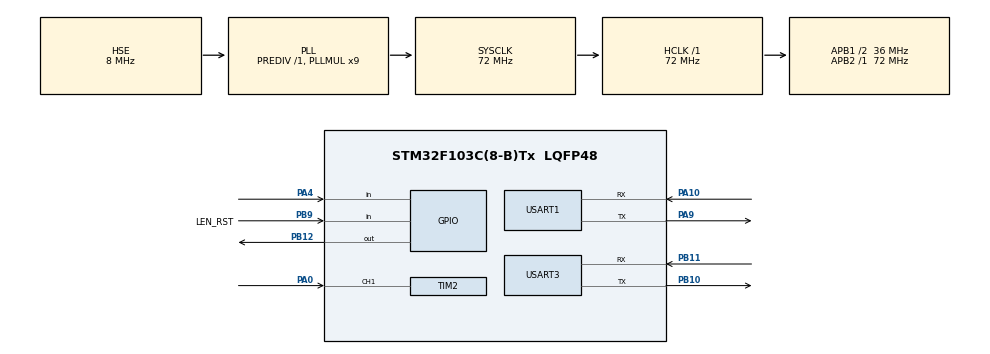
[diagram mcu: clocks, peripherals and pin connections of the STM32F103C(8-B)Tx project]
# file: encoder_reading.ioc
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Dma.Request0=USART3_RX
Dma.Request1=USART3_TX
Dma.USART3_RX.0.Direction=DMA_PERIPH_TO_MEMORY
Dma.USART3_RX.0.Instance=DMA1_Channel3
Dma.USART3_RX.0.MemDataAlignment=DMA_MDATAALIGN_BYTE
Dma.USART3_RX.0.MemInc=DMA_MINC_ENABLE
Dma.USART3_RX.0.Mode=DMA_CIRCULAR
Dma.USART3_RX.0.PeriphDataAlignment=DMA_PDATAALIGN_BYTE
Dma.USART3_RX.0.PeriphInc=DMA_PINC_DISABLE
Dma.USART3_RX.0.Priority=DMA_PRIORITY_LOW
Dma.USART3_TX.1.Direction=DMA_MEMORY_TO_PERIPH
Dma.USART3_TX.1.Instance=DMA1_Channel2
Dma.USART3_TX.1.MemDataAlignment=DMA_MDATAALIGN_BYTE
Dma.USART3_TX.1.MemInc=DMA_MINC_ENABLE
Dma.USART3_TX.1.Mode=DMA_NORMAL
Dma.USART3_TX.1.PeriphDataAlignment=DMA_PDATAALIGN_BYTE
Dma.USART3_TX.1.PeriphInc=DMA_PINC_DISABLE
Dma.USART3_TX.1.Priority=DMA_PRIORITY_LOW
IWDG.Prescaler=IWDG_PRESCALER_64
IWDG.Reload=2499
Mcu.Family=STM32F1
Mcu.Name=STM32F103C(8-B)Tx
Mcu.Package=LQFP48
NVIC.DMA1_Channel2_IRQn=true\:0\:0\:false\:false\:true\:false\:true\:true
NVIC.DMA1_Channel3_IRQn=true\:0\:0\:false\:false\:true\:false\:true\:true
NVIC.PriorityGroup=NVIC_PRIORITYGROUP_4
NVIC.TIM2_IRQn=true\:0\:0\:false\:false\:true\:true\:true\:true
NVIC.USART1_IRQn=true\:0\:0\:false\:false\:true\:true\:true\:true
NVIC.USART3_IRQn=true\:0\:0\:false\:false\:true\:true\:true\:true
PA0-WKUP.Signal=S_TIM2_CH1_ETR
PA10.Mode=Asynchronous
PA10.Signal=USART1_RX
PA13.Mode=Serial_Wire
PA13.Signal=SYS_JTMS-SWDIO
PA14.Mode=Serial_Wire
PA14.Signal=SYS_JTCK-SWCLK
PA4.GPIO_PuPd=GPIO_PULLUP
PA4.Signal=GPIO_Input
PA9.Mode=Asynchronous
PA9.Signal=USART1_TX
PB10.Mode=Asynchronous
PB10.Signal=USART3_TX
PB11.Mode=Asynchronous
PB11.Signal=USART3_RX
PB12.Signal=GPIO_Output
PB9.GPIO_Label=LEN_RST
PB9.GPIO_PuPd=GPIO_PULLUP
PB9.Signal=GPIO_Input
PD0-OSC_IN.Mode=HSE-External-Oscillator
PD0-OSC_IN.Signal=RCC_OSC_IN
PD1-OSC_OUT.Mode=HSE-External-Oscillator
PD1-OSC_OUT.Signal=RCC_OSC_OUT
ProjectManager.HeapSize=0x200
ProjectManager.StackSize=0x400
ProjectManager.TargetToolchain=STM32CubeIDE
RCC.AHBFreq_Value=72000000
RCC.APB1CLKDivider=RCC_HCLK_DIV2
RCC.APB1Freq_Value=36000000
RCC.APB1TimFreq_Value=72000000
RCC.APB2Freq_Value=72000000
RCC.APB2TimFreq_Value=72000000
RCC.HCLKFreq_Value=72000000
RCC.PLLMUL=RCC_PLL_MUL9
RCC.PLLSourceVirtual=RCC_PLLSOURCE_HSE
RCC.SYSCLKFreq_VALUE=72000000
RCC.SYSCLKSource=RCC_SYSCLKSOURCE_PLLCLK
RCC.USBFreq_Value=72000000
SH.S_TIM2_CH1_ETR.0=TIM2_CH1,Input_Capture1_from_TI1
TIM2.Channel-Input_Capture1_from_TI1=TIM_CHANNEL_1
TIM2.ICFilter_CH1=0
TIM2.ICPolarity_CH1=TIM_INPUTCHANNELPOLARITY_RISING
TIM2.Prescaler=72-1
USART1.VirtualMode=VM_ASYNC
USART3.VirtualMode=VM_ASYNC
VP_IWDG_VS_IWDG.Mode=IWDG_Activate
VP_TIM2_VS_ClockSourceINT.Mode=Internal
VP_TIM4_VS_ClockSourceINT.Mode=Internal
board=custom

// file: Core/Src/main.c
/* USER CODE BEGIN Header */
/**
 ******************************************************************************
 * @file           : main.c
 * @brief          : Main program body
 ******************************************************************************
 * @attention
 *
 * Copyright (c) 2025 STMicroelectronics.
 * All rights reserved.
 *
 * This software is licensed under terms that can be found in the LICENSE file
 * in the root directory of this software component.
 * If no LICENSE file comes with this software, it is provided AS-IS.
 *
 ******************************************************************************
 */
/* USER CODE END Header */
#include "main.h"

/* USER CODE BEGIN Includes */
#include <stdio.h>
#include "myEncoder/proximity_counter.h"
#include "queue/queue.h"
#include "modbus/modbus.h"
#include <stdlib.h>
#include <string.h>
#include "myFlash/myFlash.h"
#include "command_handler/command_handler.h"
#include <math.h>
// Declare external callback variable from modbus_master
extern ModbusResponseCallback modbus_user_on_response;

// Runtime measurement mode variable
MeasurementMode_t current_measurement_mode = MEASUREMENT_MODE_LENGTH;
/* USER CODE END Includes */

/* USER CODE BEGIN PTD */
CommandHandler_t cmdh;
/* USER CODE END PTD */

/* USER CODE BEGIN PD */
#define POWER_STATUS_PIN GPIO_PIN_4
#define POWER_STATUS_GPIO_PORT GPIOA
// Chọn chế độ hoạt động
// #define MODBUS_MASTER
#define MODBUS_SLAVE
#define MODBUS_PORT huart3
#define COMMAND_PORT huart1
uint32_t PPR = 1;
float DIA = 0.25f;
uint32_t TIME = 100;
uint32_t TIMEOUT = 10000U; // Default value, will be updated at runtime
int64_t pulse_t = 0;
float current_speed = 0;
////////////////////// Dùng cái này nếu stm32 là MODBUS SLAVE /////////////
#define SLAVE_ID 0x01
uint16_t holding_regs[10];
volatile uint32_t encoder_pulses = 0;
volatile uint32_t distance_mm = 0;
int32_t len_val;
float dia_val;
uint8_t current_modbus_slave_id = 0x01;	   // Will be loaded from Flash
bool modbus_communication_enabled = true;  // Will be loaded from Flash
bool debug_messages_enabled = true;		   // Will be loaded from Flash
uint32_t debug_message_interval_ms = 1000; // Will be loaded from Flash
// MODBUS MASTER timeout management
typedef enum
{
	MASTER_IDLE,
	MASTER_WAITING_RESPONSE
} master_state_t;

// Runtime measurement values - now handled by encoder lib
uint8_t test = 0;
uint8_t uart_byte;
uint32_t parity = 0;
uint32_t c_uart = 0;
/* USER CODE END PD */

IWDG_HandleTypeDef hiwdg;

TIM_HandleTypeDef htim2;
TIM_HandleTypeDef htim4;

UART_HandleTypeDef huart1;
UART_HandleTypeDef huart3;
DMA_HandleTypeDef hdma_usart3_rx;
DMA_HandleTypeDef hdma_usart3_tx;

/* USER CODE BEGIN PV */
// ------------------- Printf --------------------------
#ifdef __GNUC__
#define PUTCHAR_PROTOTYPE int __io_putchar(int ch)
#define GETCHAR_PROTOTYPE int __io_getchar(void)
#else
#define PUTCHAR_PROTOTYPE int fputc(int ch, FILE *f)
#define GETCHAR_PROTOTYPE int fgetc(FILE *f)
#endif

PUTCHAR_PROTOTYPE
{
	HAL_UART_Transmit(&COMMAND_PORT, (uint8_t *)&ch, 1, HAL_MAX_DELAY);
	return ch;
}

GETCHAR_PROTOTYPE
{
	uint8_t ch = 0;

	/* Clear the Overrun flag just before receiving the first character */
	__HAL_UART_CLEAR_OREFLAG(&COMMAND_PORT);

	/* Wait for reception of a character on the USART RX line - NO ECHO */
	HAL_UART_Receive(&COMMAND_PORT, (uint8_t *)&ch, 1, HAL_MAX_DELAY);
	// Removed echo to prevent double character display
	return ch;
}
/* USER CODE END PV */

void SystemClock_Config(void);
static void MX_GPIO_Init(void);
static void MX_DMA_Init(void);
static void MX_TIM2_Init(void);
static void MX_USART1_UART_Init(void);
static void MX_TIM4_Init(void);
static void MX_USART3_UART_Init(void);
static void MX_IWDG_Init(void);
/* USER CODE BEGIN PFP */

// Proximity counter instance
ProximityCounter_t proximity_counter;

// Command interface functions for proximity counter
void SetProximitySpeedUnit(int unit)
{
	if (unit == 0)
	{
		ProximityCounter_SetSpeedUnit(&proximity_counter, PROXIMITY_SPEED_UNIT_RPM);
		printf("✅ Speed unit set to RPM\r\n");
	}
	else if (unit == 1)
	{
		ProximityCounter_SetSpeedUnit(&proximity_counter, PROXIMITY_SPEED_UNIT_M_MIN);
		printf("✅ Speed unit set to m/min\r\n");
	}
}

void SetProximityMeasurementMode(int mode)
{
	if (mode == 0)
	{
		ProximityCounter_SetMeasurementMode(&proximity_counter, PROXIMITY_MEASURE_AVERAGING);
		myFlash_SaveProxMode(0);
		printf("✅ Measurement mode: AVERAGING (%lu samples)\r\n",
			   (unsigned long)proximity_counter.averaging_samples);
	}
	else if (mode == 1)
	{
		ProximityCounter_SetMeasurementMode(&proximity_counter, PROXIMITY_MEASURE_SINGLE_PERIOD);
		myFlash_SaveProxMode(1);
		printf("✅ Measurement mode: SINGLE PERIOD (for slow conveyors)\r\n");
	}
}

void SetProximityHysteresis(int index, int rpm_threshold, int hysteresis)
{
	if (index >= 0 && index < 10)
	{
		ProximityCounter_SetHysteresisEntry(&proximity_counter, index, rpm_threshold, hysteresis);
		printf("✅ Hysteresis[%d] set: RPM=%d, Threshold=%d\r\n", index, rpm_threshold, hysteresis);
	}
}

void ShowProximityHysteresis(void)
{
	printf("=== CURRENT HYSTERESIS TABLE ===\r\n");
	printf("Index | RPM Threshold | Hysteresis\r\n");
	printf("------|---------------|----------\r\n");
	for (int i = 0; i < 10; i++)
	{
		ProximityHysteresisEntry_t entry;
		if (ProximityCounter_GetHysteresisEntry(&proximity_counter, i, &entry))
		{
			printf("  %d   |     %5d     |   %3d\r\n", i, entry.rpm_threshold, entry.hysteresis);
		}
		else
		{
			printf("  %d   |       ---     |   ---\r\n", i);
		}
	}
	printf("💡 Use: hyst set <index> <rpm> <hysteresis>\r\n");
}

void ClearProximityHysteresis(void)
{
	// Clear by resetting the table size and reinitializing
	proximity_counter.hysteresis_table_size = 0;
	printf("✅ Hysteresis table cleared\r\n");
}

void SaveProximityHysteresis(void)
{
	printf("💾 Saving hysteresis table to Flash...\r\n");
	printf("🔍 Current table has %d entries:\r\n", proximity_counter.hysteresis_table_size);

	myHysteresisTable table = {0};
	table.entry_count = proximity_counter.hysteresis_table_size;

	// Copy entries from proximity counter to Flash structure
	for (int i = 0; i < table.entry_count && i < 10; i++)
	{
		table.entries[i].rpm_threshold = proximity_counter.hysteresis_table[i].rpm_threshold;
		table.entries[i].hysteresis = proximity_counter.hysteresis_table[i].hysteresis;
		printf("  Entry %d: RPM=%d, Hyst=%d\r\n", i,
			   table.entries[i].rpm_threshold, table.entries[i].hysteresis);
	}

	if (myFlash_SaveHysteresisTable(&table) == HAL_OK)
	{
		printf("✅ Hysteresis table saved successfully (%d entries)\r\n", table.entry_count);

		// Verify save by reading back
		myHysteresisTable verify_table = {0};
		myFlash_LoadHysteresisTable(&verify_table);
		printf("🔍 Verification: entry_count=%d\r\n", verify_table.entry_count);
	}
	else
	{
		printf("❌ Failed to save hysteresis table to Flash\r\n");
	}
}

void LoadProximityHysteresis(void)
{
	printf("📖 Loading hysteresis table from Flash...\r\n");

	myHysteresisTable table = {0};
	myFlash_LoadHysteresisTable(&table);

	// Debug: Show what was loaded from Flash
	printf("🔍 Flash data: entry_count=%d (0x%02X)\r\n", table.entry_count, table.entry_count);

	// Check if data is valid (not uninitialized Flash)
	// Uninitialized flash will have entry_count = 0xFF (255)
	if (table.entry_count != 0xFF && table.entry_count <= 10 && table.entry_count > 0)
	{
		// Clear current table completely
		proximity_counter.hysteresis_table_size = 0;
		memset(proximity_counter.hysteresis_table, 0, sizeof(proximity_counter.hysteresis_table));

		// Load ALL entries from Flash to proximity counter at correct positions
		for (int i = 0; i < table.entry_count && i < 10; i++)
		{
			// Only skip entries with uninitialized Flash data (0xFFFF)
			if (table.entries[i].rpm_threshold != 0xFFFF && table.entries[i].hysteresis != 0xFFFF &&
				table.entries[i].hysteresis > 0)
			{ // Allow RPM=0, only check hysteresis > 0
				proximity_counter.hysteresis_table[i].rpm_threshold = table.entries[i].rpm_threshold;
				proximity_counter.hysteresis_table[i].hysteresis = table.entries[i].hysteresis;
				// Update table size to include this entry
				if (i >= proximity_counter.hysteresis_table_size)
				{
					proximity_counter.hysteresis_table_size = i + 1;
				}
				printf("  Entry %d: RPM=%d, Hyst=%d\r\n", i,
					   table.entries[i].rpm_threshold, table.entries[i].hysteresis);
			}
		}
		printf("✅ Loaded %d valid hysteresis entries from Flash\r\n", proximity_counter.hysteresis_table_size);
	}
	else
	{
		printf("⚠️  Invalid Flash data (entry_count=%d) - using default hysteresis table\r\n", table.entry_count);
		ProximityCounter_InitDefaultHysteresis(&proximity_counter);
	}
}

// Public function for modbus_port DMA restart
void Restart_MODBUS_DMA(void);

/* USER CODE END PFP */

/* USER CODE BEGIN 0 */
// Hysteresis filter function now in proximity_counter library

void Restart_MODBUS_DMA(void)
{
	HAL_UART_Receive_DMA(&MODBUS_PORT, uart_rx_buffer, UART_RX_BUFFER_SIZE);
	__HAL_UART_ENABLE_IT(&MODBUS_PORT, UART_IT_IDLE);
}

static void Reinit_UARTs(void)
{
	HAL_UART_DeInit(&COMMAND_PORT);
	HAL_UART_Init(&COMMAND_PORT);
	HAL_UART_DeInit(&MODBUS_PORT);
	HAL_UART_Init(&MODBUS_PORT);
	Restart_MODBUS_DMA();
	// command_port now uses scanf - no interrupt setup needed
}

static void Apply_Parity_Config(uint32_t parity_mode)
{
	switch (parity_mode)
	{
	case 0: // NONE
		COMMAND_PORT.Init.Parity = UART_PARITY_NONE;
		COMMAND_PORT.Init.WordLength = UART_WORDLENGTH_8B;
		break;
	case 1: // ODD
		COMMAND_PORT.Init.Parity = UART_PARITY_ODD;
		COMMAND_PORT.Init.WordLength = UART_WORDLENGTH_9B;
		break;
	case 2: // EVEN
		COMMAND_PORT.Init.Parity = UART_PARITY_EVEN;
		COMMAND_PORT.Init.WordLength = UART_WORDLENGTH_9B;
		break;
	default:
		break;
	}
}

static void Apply_Modbus_Parity_Config(uint32_t parity_mode)
{
	switch (parity_mode)
	{
	case 0: // NONE
		MODBUS_PORT.Init.Parity = UART_PARITY_NONE;
		MODBUS_PORT.Init.WordLength = UART_WORDLENGTH_8B;
		break;
	case 1: // ODD
		MODBUS_PORT.Init.Parity = UART_PARITY_ODD;
		MODBUS_PORT.Init.WordLength = UART_WORDLENGTH_9B;
		break;
	case 2: // EVEN
		MODBUS_PORT.Init.Parity = UART_PARITY_EVEN;
		MODBUS_PORT.Init.WordLength = UART_WORDLENGTH_9B;
		break;
	default:
		break;
	}
}

static void Apply_UART_Params(const myUARTParams *p)
{
	if (!p)
		return;
	COMMAND_PORT.Init.BaudRate = p->baudRate;

	Apply_Parity_Config(p->parity);

	if (p->stopBits == 2U)
	{
		COMMAND_PORT.Init.StopBits = UART_STOPBITS_2;
	}
	else
	{
		COMMAND_PORT.Init.StopBits = UART_STOPBITS_1;
	}

	// Reinit only command_port
	HAL_UART_DeInit(&COMMAND_PORT);
	HAL_UART_Init(&COMMAND_PORT);
}

static void Apply_Modbus_UART_Params(const myModbusUARTParams *p)
{
	if (!p)
		return;
	MODBUS_PORT.Init.BaudRate = p->baudRate;

	Apply_Modbus_Parity_Config(p->parity);

	if (p->stopBits == 2U)
	{
		MODBUS_PORT.Init.StopBits = UART_STOPBITS_2;
	}
	else
	{
		MODBUS_PORT.Init.StopBits = UART_STOPBITS_1;
	}

	// Reinit modbus_port and restart DMA
	HAL_UART_DeInit(&MODBUS_PORT);
	HAL_UART_Init(&MODBUS_PORT);
	Restart_MODBUS_DMA();
}

// static void HoldingRegs_Refresh(void)
// {
// 	memset(holding_regs, 0, sizeof(holding_regs));
// 	holding_regs[0] = PPR;															// pulses per revolution
// 	holding_regs[1] = (uint16_t)(DIA * 1000);										// diameter in mm
// 	holding_regs[2] = TIME;															// sample time in ms
// 	holding_regs[3] = (uint16_t)floor(ProximityCounter_GetRPM(&proximity_counter)); // current RPM
// }

// static void Handle_Buttons(void)
// {
// 	static bool emergency_save_done = false;

// 	if (HAL_GPIO_ReadPin(POWER_STATUS_GPIO_PORT, POWER_STATUS_PIN) == GPIO_PIN_SET)
// 	{
// 		// Power loss detected - emergency save all critical parameters
// 		if (!emergency_save_done)
// 		{
// 			// 1. Save current length (highest priority - measurement data)
// 			uint32_t current_length_mm = 0;
// 			myFlash_SaveLength(current_length_mm);

// 			// 2. Save encoder params
// 			myEncoderParams enc_params = {
// 				.diameter = (uint32_t)(DIA * 1000), // Convert to mm
// 				.pulsesPerRev = PPR,
// 				.sampleTimeMs = TIME,
// 			};
// 			myFlash_SaveEncoderParams(&enc_params);

// 			// 3. Save UART params
// 			myUARTParams p;
// 			p.baudRate = MODBUS_PORT.Init.BaudRate;
// 			p.parity = parity;
// 			p.stopBits = (MODBUS_PORT.Init.StopBits == UART_STOPBITS_2) ? 2U : 1U;
// 			p.frameTimeoutMs = TIME;
// 			myFlash_SaveUARTParams(&p);

// 			emergency_save_done = true;
// 		}

// 		// Minimal delay to debounce, then wait for power restoration or complete loss
// 		uint32_t start_time = HAL_GetTick();
// 		while (HAL_GPIO_ReadPin(GPIOA, GPIO_PIN_4) == GPIO_PIN_SET && (HAL_GetTick() - start_time) < 100)
// 		{
// 			// Keep watchdog alive during power loss event
// 			HAL_IWDG_Refresh(&hiwdg);
// 		}

// 		// Reset flag when power is restored
// 		if (HAL_GPIO_ReadPin(GPIOA, GPIO_PIN_4) == GPIO_PIN_RESET)
// 		{
// 			emergency_save_done = false;
// 		}
// 	}
// }

void HAL_UART_IDLE_Callback(UART_HandleTypeDef *huart)
{
	if (huart->Instance == USART3)
	{
		uint16_t len = UART_RX_BUFFER_SIZE - __HAL_DMA_GET_COUNTER(huart->hdmarx);
		// Only accept plausible Modbus RTU frames (min 4 bytes incl. CRC)
		if (len >= 4 && len <= MODBUS_FRAME_MAX_LEN)
		{
			queue_frame_t frame;
			memcpy(frame.data, uart_rx_buffer, len);
			frame.len = len;
			if (!queue_push(&frame))
			{
				printf("⚠️ Queue full- Remove frame!\r\n");
			}
		}

		// Reset DMA
		__HAL_UART_CLEAR_IDLEFLAG(huart);
		HAL_UART_DMAStop(huart);
		HAL_UART_Receive_DMA(huart, uart_rx_buffer, UART_RX_BUFFER_SIZE);
	}
}
// Modbus Functions handler
void on_read_holding_registers(uint16_t addr, uint16_t quantity)
{
	holding_regs[0] = PPR;
	holding_regs[1] = (uint16_t)(DIA * 1000);
	holding_regs[2] = TIME;
	holding_regs[3] = (uint16_t)floor(ProximityCounter_GetRPM(&proximity_counter));
}
void on_write_single_register(uint16_t addr, uint16_t value)
{
	switch (addr)
	{
	case 0:
		holding_regs[0] = value;
		PPR = value;
		ProximityCounter_UpdateConfig(&proximity_counter, PPR, DIA);
		break; // số xung
	case 1:
		holding_regs[1] = value;
		DIA = (float)value / 1000.0;
		ProximityCounter_UpdateConfig(&proximity_counter, PPR, DIA);
		break; // đường kính (mm)
	case 2:
		holding_regs[2] = value;
		TIME = value;
		ProximityCounter_SetTimeout(&proximity_counter, value * 10); // Convert to reasonable timeout
		break;														 // thời gian lấy mẫu (ms)
	default:
		break;
	}
}
void on_write_multiple_registers(uint16_t addr, const uint16_t *values,
								 uint16_t quantity)
{
	printf("Master write multi registers!\n");
}
void modbus_slave_setup(uint8_t slave_id)
{
	ModbusSlaveConfig slave_cfg = {
		.id = slave_id,
		.coils = NULL,
		.coil_count = 0,
		.discrete_inputs = NULL,
		.discrete_input_count = 0,
		.holding_registers = holding_regs,
		.holding_register_count = 10,
		.input_registers = NULL,
		.input_register_count = 0,
		.on_read_coils = NULL,
		.on_read_discrete_inputs = NULL,
		.on_read_holding_registers = on_read_holding_registers,
		.on_read_input_registers = NULL,
		.on_write_single_coil = NULL,
		.on_write_single_register = on_write_single_register,
		.on_write_multiple_coils = NULL,
		.on_write_multiple_registers = on_write_multiple_registers};
	modbus_init_slave(&MODBUS_PORT, &slave_cfg, MODBUS_MODE_RTU);
	memset(holding_regs, 0, sizeof(holding_regs));
	// holding_regs[0] = PPR;		  // số xung
	// holding_regs[1] = (uint16_t)(DIA * 1000); // đường kính (mm)
	// holding_regs[2] = TIME;		  // thời gian lấy mẫu(ms)
	MODBUS_SET_DE_RX(); // DE = LOW (RX mode)
}

void HAL_UART_TxCpltCallback(UART_HandleTypeDef *huart)
{
	if (huart->Instance == USART3)
	{
		// Ngay khi gửi xong, chuyển về chế độ nhận (DE=LOW) bằng macro
		MODBUS_SET_DE_RX();
	}
}
void HAL_TIM_IC_CaptureCallback(TIM_HandleTypeDef *htim)
{
	// Delegate to proximity counter library
	ProximityCounter_HandleCapture(&proximity_counter, htim);
}

// Timer overflow callback - counts overflows between captures
void HAL_TIM_PeriodElapsedCallback(TIM_HandleTypeDef *htim)
{
	// Delegate to proximity counter library
	ProximityCounter_HandleOverflow(&proximity_counter, htim);
}
/* USER CODE END 0 */

int main(void)
{

	/* MCU Configuration--------------------------------------------------------*/

	/* Reset of all peripherals, Initializes the Flash interface and the Systick. */
	HAL_Init();

	/* Configure the system clock */
	SystemClock_Config();

	/* Initialize all configured peripherals */
	MX_GPIO_Init();
	MX_DMA_Init();
	MX_TIM2_Init();
	MX_USART1_UART_Init();
	MX_TIM4_Init();
	MX_USART3_UART_Init();
	MX_IWDG_Init();
	/* USER CODE BEGIN 2 */
	// Load Debug Config from Flash

	// Initialize proximity counter
	ProximityCounterConfig_t prox_config = {
		.ppr = PPR,
		.diameter = DIA,
		.timeout_ms = TIMEOUT,
		.averaging_samples = 3};
	ProximityCounter_Init(&proximity_counter, &prox_config, &htim2);
	ProximityCounter_Start(&proximity_counter);
	CommandHandler_InitDebugConfigFromFlash();
	CommandHandler_GetDebugConfig(&debug_messages_enabled, &debug_message_interval_ms);
	printf("Loaded Debug config from Flash: Status=%s Interval=%lu ms\r\n",
		   debug_messages_enabled ? "ENABLED" : "DISABLED",
		   (unsigned long)debug_message_interval_ms);
	setvbuf(stdin, NULL, _IONBF, 0);

	// Load Modbus configuration from Flash FIRST
	CommandHandler_InitModbusFromFlash();
	current_modbus_slave_id = CommandHandler_GetModbusSlaveId();
	modbus_communication_enabled = CommandHandler_IsModbusEnabled();
	printf("Loaded Modbus config from Flash: ID=0x%02X Status=%s\r\n",
		   current_modbus_slave_id, modbus_communication_enabled ? "ENABLED" : "DISABLED");

	// Load Speed Unit configuration from Flash
	CommandHandler_InitSpeedUnitFromFlash();
	SpeedDisplayUnit_t loaded_speed_unit = CommandHandler_GetSpeedDisplayUnit();
	SetProximitySpeedUnit((loaded_speed_unit == SPEED_UNIT_RPM) ? 0 : 1);
	printf("Loaded speed display unit: %s\r\n",
		   (loaded_speed_unit == SPEED_UNIT_RPM) ? "RPM" : "m/min");

	// Load Hysteresis table from Flash
	LoadProximityHysteresis();

	// Load proximity measurement mode from Flash
	{
		uint32_t saved_prox_mode = myFlash_LoadProxMode();
		if (saved_prox_mode == 0xFFFFFFFFU || saved_prox_mode > 1U)
		{
			// Chưa lưu bao giờ → dùng default SINGLE_PERIOD
			ProximityCounter_SetMeasurementMode(&proximity_counter, PROXIMITY_MEASURE_SINGLE_PERIOD);
			myFlash_SaveProxMode(1);
			printf("⚙️ Initialized prox_mode to SINGLE PERIOD and saved to Flash\r\n");
		}
		else
		{
			ProximityCounter_SetMeasurementMode(&proximity_counter,
				(saved_prox_mode == 0) ? PROXIMITY_MEASURE_AVERAGING : PROXIMITY_MEASURE_SINGLE_PERIOD);
			printf("⬇️ Loaded prox_mode from Flash: %s\r\n",
				(saved_prox_mode == 0) ? "AVERAGING" : "SINGLE PERIOD");
		}
	}

	// Initialize Command Handler
	CommandHandler_Config_t cmd_config = {
		.huart = &COMMAND_PORT,
		.reinit_uarts = Reinit_UARTs,
		.apply_parity_config = Apply_Parity_Config,
		.encoder_init = NULL, // No encoder init needed - using proximity counter
		.save_uart_params = (HAL_StatusTypeDef (*)(const void *))myFlash_SaveUARTParams,
		.save_encoder_params = (HAL_StatusTypeDef (*)(const void *))myFlash_SaveEncoderParams,
		.save_length = myFlash_SaveLength,
		.save_measurement_mode = myFlash_SaveMeasurementMode,
		.load_measurement_mode = myFlash_LoadMeasurementMode,
		.ppr = &PPR,
		.dia = &DIA,
		.time = &TIME,
		.timeout = &TIMEOUT,
		.parity = &parity,
		.measurement_mode = &current_measurement_mode,
		.command_port = &COMMAND_PORT,
		.modbus_port = &MODBUS_PORT,
		.encoder = NULL,
		.htim = &htim2,
		.slave_id = current_modbus_slave_id};
	// Load command_port (Command Handler) params from Flash
	myUARTParams saved_command_port;
	myFlash_LoadUARTParams(&saved_command_port);
	if (saved_command_port.baudRate != 0xFFFFFFFFU && saved_command_port.baudRate >= 2400U && saved_command_port.baudRate <= 921600U)
	{
		Apply_UART_Params(&saved_command_port);
		printf(
			"⬇️ Loaded Command UART params from Flash: baud=%lu parity=%lu stop=%lu\r\n",
			(unsigned long)saved_command_port.baudRate, (unsigned long)saved_command_port.parity,
			(unsigned long)saved_command_port.stopBits);
	}
	else
	{
		myUARTParams def_command_port = {115200U, 0U, 1U, 100U}; // Default for command_port
		if (myFlash_SaveUARTParams(&def_command_port) == HAL_OK)
		{
			printf("⚙️ Initialized default Command UART params and saved to Flash\r\n");
		}
	}

	// Load modbus_port (Modbus) params from Flash
	myModbusUARTParams saved_modbus_uart = {115200U, 0U, 1U, 100U};
	myFlash_LoadModbusUARTParams(&saved_modbus_uart);

	Apply_Modbus_UART_Params(&saved_modbus_uart);
	printf(
		"⬇️ Loaded Modbus UART params from Flash: baud=%lu parity=%lu stop=%lu timeout=%lu ms\r\n",
		(unsigned long)saved_modbus_uart.baudRate, (unsigned long)saved_modbus_uart.parity,
		(unsigned long)saved_modbus_uart.stopBits,
		(unsigned long)saved_modbus_uart.frameTimeoutMs);

	// Load encoder params from Flash and apply
	myEncoderParams saved_encoder;
	myFlash_LoadEncoderParams(&saved_encoder);
	if (saved_encoder.diameter != 0xFFFFFFFFU && saved_encoder.pulsesPerRev != 0xFFFFFFFFU && saved_encoder.diameter > 0 && saved_encoder.pulsesPerRev > 0)
	{
		DIA = (float)saved_encoder.diameter / 1000.0f; // Convert from mm to meters
		PPR = saved_encoder.pulsesPerRev;
		if (saved_encoder.timeout != 0xFFFFFFFFU && saved_encoder.timeout >= 1000U && saved_encoder.timeout <= 60000U)
		{
			TIMEOUT = saved_encoder.timeout;
		}
		if (saved_encoder.sampleTimeMs != 0xFFFFFFFFU && saved_encoder.sampleTimeMs >= 10U && saved_encoder.sampleTimeMs <= 10000U)
		{
			TIME = saved_encoder.sampleTimeMs;
		}
		printf("⬇️ Loaded encoder params from Flash: PPR=%lu DIA=%.3f SAMPLETIME=%lums TIMEOUT=%lums\r\n",
			   (unsigned long)PPR, (double)DIA, (unsigned long)TIME, (unsigned long)TIMEOUT);
	}
	else
	{
		// Initialize with current values if not in flash
		myEncoderParams def_enc = {
			.diameter = (uint32_t)(DIA * 1000),
			.pulsesPerRev = PPR,
			.timeout = TIMEOUT,
			.sampleTimeMs = TIME,
		};
		if (myFlash_SaveEncoderParams(&def_enc) == HAL_OK)
		{
			printf("⚙️ Initialized default encoder params and saved to Flash\r\n");
		}
	}

	// Apply loaded encoder params to proximity counter
	ProximityCounter_UpdateConfig(&proximity_counter, PPR, DIA);
	ProximityCounter_SetTimeout(&proximity_counter, TIMEOUT);

	// Initialize length value if not in flash
	uint32_t saved_length = myFlash_LoadLength();
	if (saved_length == 0xFFFFFFFFU)
	{
		// Initialize length to 0 if not set
		if (myFlash_SaveLength(0) == HAL_OK)
		{
			printf("⚙️ Initialized encoder length to 0 and saved to Flash\r\n");
		}
	}
	else
	{
		printf("⬇️ Loaded encoder length from Flash: %lu\r\n",
			   (unsigned long)saved_length);
	}

	// Load measurement mode from Flash
	uint32_t saved_mode = myFlash_LoadMeasurementMode();
	if (saved_mode == 0xFFFFFFFFU || saved_mode > MEASUREMENT_MODE_LENGTH)
	{
		// Initialize to LENGTH mode if not set or invalid
		current_measurement_mode = MEASUREMENT_MODE_LENGTH;
		if (myFlash_SaveMeasurementMode(MEASUREMENT_MODE_LENGTH) == HAL_OK)
		{
			printf("⚙️ Initialized measurement mode to LENGTH and saved to Flash\r\n");
		}
	}
	else
	{
		current_measurement_mode = (MeasurementMode_t)saved_mode;
		printf("⬇️ Loaded measurement mode from Flash: %s\r\n",
			   (current_measurement_mode == MEASUREMENT_MODE_LENGTH) ? "LENGTH" : "RPM");
	}

	// ----------------- modbus_port -----------------------------
	HAL_UART_Receive_DMA(&MODBUS_PORT, uart_rx_buffer, UART_RX_BUFFER_SIZE);
	__HAL_UART_ENABLE_IT(&MODBUS_PORT, UART_IT_IDLE);

	modbus_slave_setup(current_modbus_slave_id);
	printf("🔌 Modbus SLAVE mode initialized\r\n");
	// ----------------- IWDG -------------------------------
	// Already initialized in MX_IWDG_Init(); keep refreshing in loop

	CommandHandler_Init(&cmdh, &cmd_config);
	printf("System initialized.\r\n");
	/* USER CODE END 2 */

	/* Infinite loop */
	/* USER CODE BEGIN WHILE */
	while (1)
	{
		HAL_IWDG_Refresh(&hiwdg);
		CommandHandler_Process(&cmdh);
		// Process proximity counter
		ProximityCounter_ProcessCapture(&proximity_counter);
		ProximityCounter_CheckTimeout(&proximity_counter);

		// Display speed according to current unit setting
		ProximitySpeedUnit_t current_unit = ProximityCounter_GetSpeedUnit(&proximity_counter);
		current_speed = ProximityCounter_GetSpeed(&proximity_counter, current_unit);

		static uint32_t last_print_tick = 0;
		uint32_t now = HAL_GetTick();
		if (debug_messages_enabled && (now - last_print_tick >= debug_message_interval_ms))
		{
			last_print_tick = now;
			if (current_unit == PROXIMITY_SPEED_UNIT_RPM)
			{
				printf("RPM: %.2f\r\n", current_speed);
			}
			else
			{
				printf("Speed: %.2f m/min\r\n", current_speed);
			}
		}
		// HoldingRegs_Refresh();
		// Handle_Buttons();

		queue_frame_t frame;
		if (queue_pop(&frame))
		{
			// Only process Modbus if communication is enabled
			if (CommandHandler_IsModbusEnabled())
			{
				modbus_handle_frame(frame.data, frame.len);
			}
		}

		/* USER CODE END WHILE */

	}
}

void SystemClock_Config(void)
{
	RCC_OscInitTypeDef RCC_OscInitStruct = {0};
	RCC_ClkInitTypeDef RCC_ClkInitStruct = {0};

	/** Initializes the RCC Oscillators according to the specified parameters
	 * in the RCC_OscInitTypeDef structure.
	 */
	RCC_OscInitStruct.OscillatorType = RCC_OSCILLATORTYPE_LSI | RCC_OSCILLATORTYPE_HSE;
	RCC_OscInitStruct.HSEState = RCC_HSE_ON;
	RCC_OscInitStruct.HSEPredivValue = RCC_HSE_PREDIV_DIV1;
	RCC_OscInitStruct.HSIState = RCC_HSI_ON;
	RCC_OscInitStruct.LSIState = RCC_LSI_ON;
	RCC_OscInitStruct.PLL.PLLState = RCC_PLL_ON;
	RCC_OscInitStruct.PLL.PLLSource = RCC_PLLSOURCE_HSE;
	RCC_OscInitStruct.PLL.PLLMUL = RCC_PLL_MUL9;
	if (HAL_RCC_OscConfig(&RCC_OscInitStruct) != HAL_OK)
	{
		Error_Handler();
	}

	/** Initializes the CPU, AHB and APB buses clocks
	 */
	RCC_ClkInitStruct.ClockType = RCC_CLOCKTYPE_HCLK | RCC_CLOCKTYPE_SYSCLK | RCC_CLOCKTYPE_PCLK1 | RCC_CLOCKTYPE_PCLK2;
	RCC_ClkInitStruct.SYSCLKSource = RCC_SYSCLKSOURCE_PLLCLK;
	RCC_ClkInitStruct.AHBCLKDivider = RCC_SYSCLK_DIV1;
	RCC_ClkInitStruct.APB1CLKDivider = RCC_HCLK_DIV2;
	RCC_ClkInitStruct.APB2CLKDivider = RCC_HCLK_DIV1;

	if (HAL_RCC_ClockConfig(&RCC_ClkInitStruct, FLASH_LATENCY_2) != HAL_OK)
	{
		Error_Handler();
	}
}

static void MX_IWDG_Init(void)
{

	hiwdg.Instance = IWDG;
	hiwdg.Init.Prescaler = IWDG_PRESCALER_256;
	hiwdg.Init.Reload = 4095;
	if (HAL_IWDG_Init(&hiwdg) != HAL_OK)
	{
		Error_Handler();
	}
}

static void MX_TIM2_Init(void)
{

	TIM_ClockConfigTypeDef sClockSourceConfig = {0};
	TIM_MasterConfigTypeDef sMasterConfig = {0};
	TIM_IC_InitTypeDef sConfigIC = {0};

	htim2.Instance = TIM2;
	htim2.Init.Prescaler = 72 - 1;
	htim2.Init.CounterMode = TIM_COUNTERMODE_UP;
	htim2.Init.Period = 65535;
	htim2.Init.ClockDivision = TIM_CLOCKDIVISION_DIV1;
	htim2.Init.AutoReloadPreload = TIM_AUTORELOAD_PRELOAD_DISABLE;
	if (HAL_TIM_Base_Init(&htim2) != HAL_OK)
	{
		Error_Handler();
	}
	sClockSourceConfig.ClockSource = TIM_CLOCKSOURCE_INTERNAL;
	if (HAL_TIM_ConfigClockSource(&htim2, &sClockSourceConfig) != HAL_OK)
	{
		Error_Handler();
	}
	if (HAL_TIM_IC_Init(&htim2) != HAL_OK)
	{
		Error_Handler();
	}
	sMasterConfig.MasterOutputTrigger = TIM_TRGO_RESET;
	sMasterConfig.MasterSlaveMode = TIM_MASTERSLAVEMODE_DISABLE;
	if (HAL_TIMEx_MasterConfigSynchronization(&htim2, &sMasterConfig) != HAL_OK)
	{
		Error_Handler();
	}
	sConfigIC.ICPolarity = TIM_INPUTCHANNELPOLARITY_RISING;
	sConfigIC.ICSelection = TIM_ICSELECTION_DIRECTTI;
	sConfigIC.ICPrescaler = TIM_ICPSC_DIV1;
	sConfigIC.ICFilter = 0;
	if (HAL_TIM_IC_ConfigChannel(&htim2, &sConfigIC, TIM_CHANNEL_1) != HAL_OK)
	{
		Error_Handler();
	}
}

static void MX_TIM4_Init(void)
{

	TIM_ClockConfigTypeDef sClockSourceConfig = {0};
	TIM_MasterConfigTypeDef sMasterConfig = {0};

	htim4.Instance = TIM4;
	htim4.Init.Prescaler = 0;
	htim4.Init.CounterMode = TIM_COUNTERMODE_UP;
	htim4.Init.Period = 65535;
	htim4.Init.ClockDivision = TIM_CLOCKDIVISION_DIV1;
	htim4.Init.AutoReloadPreload = TIM_AUTORELOAD_PRELOAD_DISABLE;
	if (HAL_TIM_Base_Init(&htim4) != HAL_OK)
	{
		Error_Handler();
	}
	sClockSourceConfig.ClockSource = TIM_CLOCKSOURCE_INTERNAL;
	if (HAL_TIM_ConfigClockSource(&htim4, &sClockSourceConfig) != HAL_OK)
	{
		Error_Handler();
	}
	sMasterConfig.MasterOutputTrigger = TIM_TRGO_RESET;
	sMasterConfig.MasterSlaveMode = TIM_MASTERSLAVEMODE_DISABLE;
	if (HAL_TIMEx_MasterConfigSynchronization(&htim4, &sMasterConfig) != HAL_OK)
	{
		Error_Handler();
	}
}

static void MX_USART1_UART_Init(void)
{

	COMMAND_PORT.Instance = USART1;
	COMMAND_PORT.Init.BaudRate = 115200;
	COMMAND_PORT.Init.WordLength = UART_WORDLENGTH_8B;
	COMMAND_PORT.Init.StopBits = UART_STOPBITS_1;
	COMMAND_PORT.Init.Parity = UART_PARITY_NONE;
	COMMAND_PORT.Init.Mode = UART_MODE_TX_RX;
	COMMAND_PORT.Init.HwFlowCtl = UART_HWCONTROL_NONE;
	COMMAND_PORT.Init.OverSampling = UART_OVERSAMPLING_16;
	if (HAL_UART_Init(&COMMAND_PORT) != HAL_OK)
	{
		Error_Handler();
	}
}

static void MX_USART3_UART_Init(void)
{

	MODBUS_PORT.Instance = USART3;
	MODBUS_PORT.Init.BaudRate = 115200;
	MODBUS_PORT.Init.WordLength = UART_WORDLENGTH_8B;
	MODBUS_PORT.Init.StopBits = UART_STOPBITS_1;
	MODBUS_PORT.Init.Parity = UART_PARITY_NONE;
	MODBUS_PORT.Init.Mode = UART_MODE_TX_RX;
	MODBUS_PORT.Init.HwFlowCtl = UART_HWCONTROL_NONE;
	MODBUS_PORT.Init.OverSampling = UART_OVERSAMPLING_16;
	if (HAL_UART_Init(&MODBUS_PORT) != HAL_OK)
	{
		Error_Handler();
	}
}

static void MX_DMA_Init(void)
{

	/* DMA controller clock enable */
	__HAL_RCC_DMA1_CLK_ENABLE();

	/* DMA interrupt init */
	/* DMA1_Channel2_IRQn interrupt configuration */
	HAL_NVIC_SetPriority(DMA1_Channel2_IRQn, 0, 0);
	HAL_NVIC_EnableIRQ(DMA1_Channel2_IRQn);
	/* DMA1_Channel3_IRQn interrupt configuration */
	HAL_NVIC_SetPriority(DMA1_Channel3_IRQn, 0, 0);
	HAL_NVIC_EnableIRQ(DMA1_Channel3_IRQn);
}

static void MX_GPIO_Init(void)
{
	GPIO_InitTypeDef GPIO_InitStruct = {0};

	/* GPIO Ports Clock Enable */
	__HAL_RCC_GPIOD_CLK_ENABLE();
	__HAL_RCC_GPIOA_CLK_ENABLE();
	__HAL_RCC_GPIOB_CLK_ENABLE();

	/*Configure GPIO pin Output Level */
	HAL_GPIO_WritePin(GPIOB, GPIO_PIN_12, GPIO_PIN_RESET);

	/*Configure GPIO pin : PA4 */
	GPIO_InitStruct.Pin = GPIO_PIN_4;
	GPIO_InitStruct.Mode = GPIO_MODE_INPUT;
	GPIO_InitStruct.Pull = GPIO_PULLUP;
	HAL_GPIO_Init(GPIOA, &GPIO_InitStruct);

	/*Configure GPIO pin : PB12 */
	GPIO_InitStruct.Pin = GPIO_PIN_12;
	GPIO_InitStruct.Mode = GPIO_MODE_OUTPUT_PP;
	GPIO_InitStruct.Pull = GPIO_NOPULL;
	GPIO_InitStruct.Speed = GPIO_SPEED_FREQ_LOW;
	HAL_GPIO_Init(GPIOB, &GPIO_InitStruct);

}

void Error_Handler(void)
{
	__disable_irq();
	while (1)
	{
	}
}
